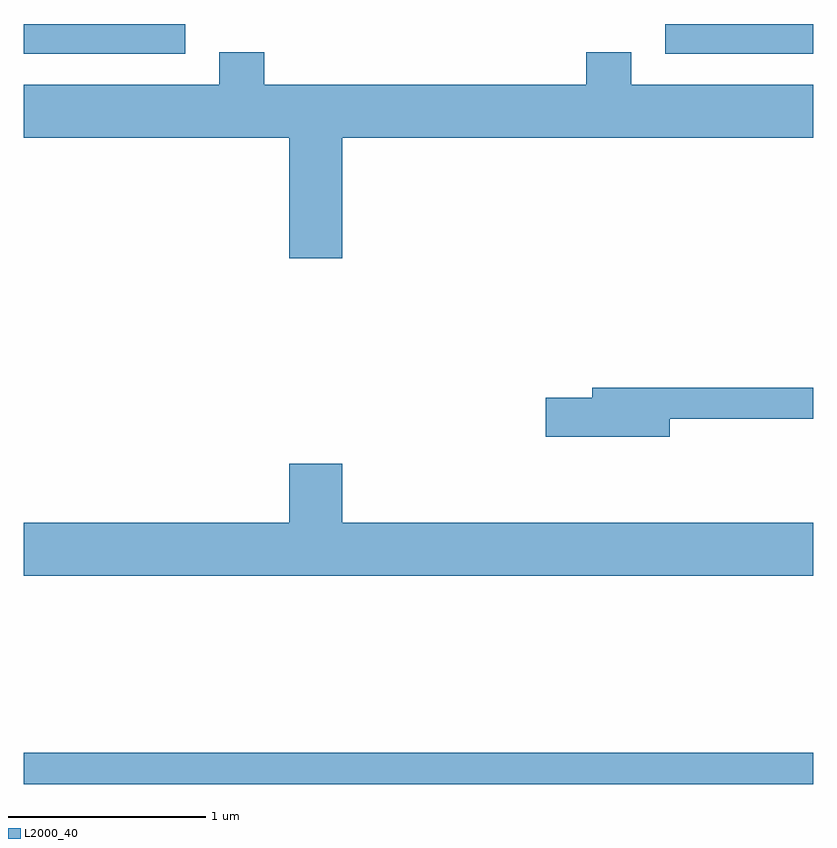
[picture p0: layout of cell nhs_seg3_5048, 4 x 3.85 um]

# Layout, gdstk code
import gdstk
lib = gdstk.Library(unit=1e-6, precision=1e-09)
def R(c, l, rs):  # rectangles x0, y0, x1, y1
    for r in rs: c.add(gdstk.rectangle(r[:2], r[2:], *l))
def P(c, l, *ps):  # polygons
    for p in ps: c.add(gdstk.Polygon(p, *l))
L2000_40 = (2000, 40)

nhs_seg3_5048 = lib.new_cell('nhs_seg3_5048')
R(nhs_seg3_5048, L2000_40, [(333.611,1156.041,337.611,1156.199), (333.611,1159.741,334.429,1159.892), (336.861,1159.741,337.611,1159.892)])
P(nhs_seg3_5048, L2000_40, [(335.224,1159.316),(337.611,1159.316),(337.611,1159.584),(336.689,1159.584),(336.689,1159.749),(336.461,1159.749),(336.461,1159.584),(334.829,1159.584),(334.829,1159.749),(334.601,1159.749),(334.601,1159.584),(333.611,1159.584),(333.611,1159.316),(334.956,1159.316),(334.956,1158.706),(335.224,1158.706)],
  [(336.884,1157.891),(337.611,1157.891),(337.611,1158.049),(336.491,1158.049),(336.491,1157.999),(336.256,1157.999),(336.256,1157.801),(336.884,1157.801)],
  [(337.611,1157.364),(335.224,1157.364),(335.224,1157.664),(334.956,1157.664),(334.956,1157.364),(333.611,1157.364),(333.611,1157.096),(337.611,1157.096)])

lib.write_gds('nhs_seg3_5048.gds')
